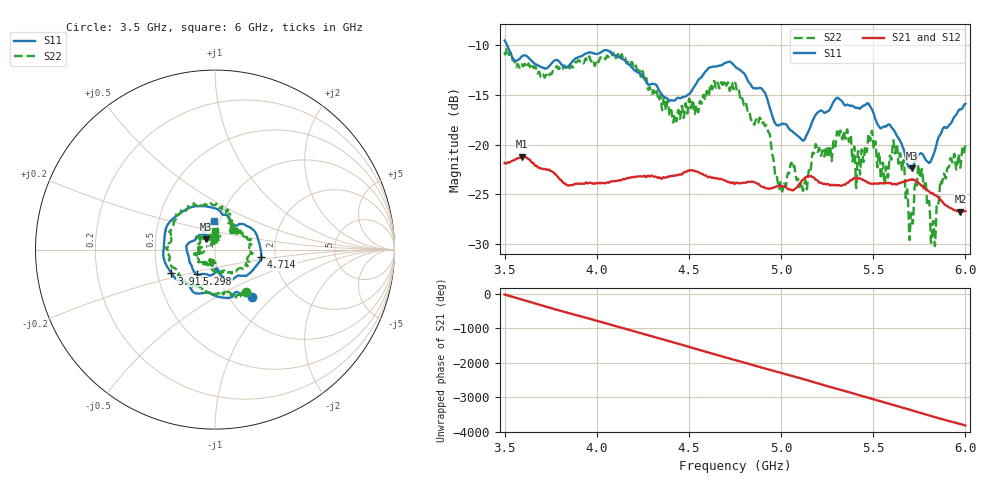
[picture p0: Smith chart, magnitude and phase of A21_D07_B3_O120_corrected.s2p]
! Created with skrf 1.9.0 (http://scikit-rf.org).
# Hz S RI R 50.0
!freq ReS11 ImS11 ReS21 ImS21 ReS12 ImS12 ReS22 ImS22
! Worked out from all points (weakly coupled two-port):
!   1601 points, 3.5 GHz to 6 GHz, reference 50 ohm
!   highest |S21| = -21.21 dB at 3.594 GHz (marker M1); lowest = -26.7 dB at 5.973 GHz (marker M2)
!   lowest |S11| = -22.4 dB at 5.708 GHz (marker M3), VSWR 1.16, Z = 45 + j5.19 ohm
!   |S11| at or under -10 dB: 3.513 GHz to end of sweep
!   |S22| runs from -30.2 to -10.3 dB; largest |S21 - S12| = 0.001
!   S11 on the Smith chart (normalised r, x): 3.5 GHz: 1.27, -0.75; 3.911 GHz: 0.59, -0.17; 4.714 GHz: 1.68, -0.15; 5.298 GHz: 0.79, -0.22; 6 GHz: 0.94, +0.31
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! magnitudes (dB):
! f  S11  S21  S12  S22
! 3.5 GHz  -9.5  -21.8  -21.8  -10.7
! 3.594 GHz  -11.1  -21.2  -21.2  -11.9
! 3.911 GHz  -11.2  -23.9  -23.9  -11.7
! 3.917 GHz  -11.1  -23.9  -23.9  -11.6
! 4.142 GHz  -11.4  -23.5  -23.5  -11.3
! 4.334 GHz  -14.4  -23.3  -23.3  -15.6
! 4.423 GHz  -15.6  -23.1  -23.1  -17.0
! 4.714 GHz  -11.7  -23.8  -23.8  -13.9
! 4.75 GHz  -12.1  -23.9  -23.9  -13.8
! 4.928 GHz  -15.6  -24.4  -24.4  -18.6
! 4.997 GHz  -18.0  -24.2  -24.1  -23.8
! 5.167 GHz  -17.8  -23.2  -23.2  -21.3
! 5.298 GHz  -15.4  -24.0  -24.0  -19.4
! 5.486 GHz  -16.2  -23.9  -23.9  -19.5
! 5.584 GHz  -18.0  -23.9  -23.8  -22.4
! 5.656 GHz  -20.0  -23.8  -23.7  -22.6
! 5.708 GHz  -22.4  -23.5  -23.5  -26.9
! 5.755 GHz  -20.9  -24.0  -24.0  -23.4
! 5.825 GHz  -21.1  -24.9  -24.9  -27.7
! 5.873 GHz  -18.6  -25.7  -25.7  -23.8
! 5.973 GHz  -16.5  -26.7  -26.7  -22.3
! 6 GHz  -15.9  -26.7  -26.6  -19.9
